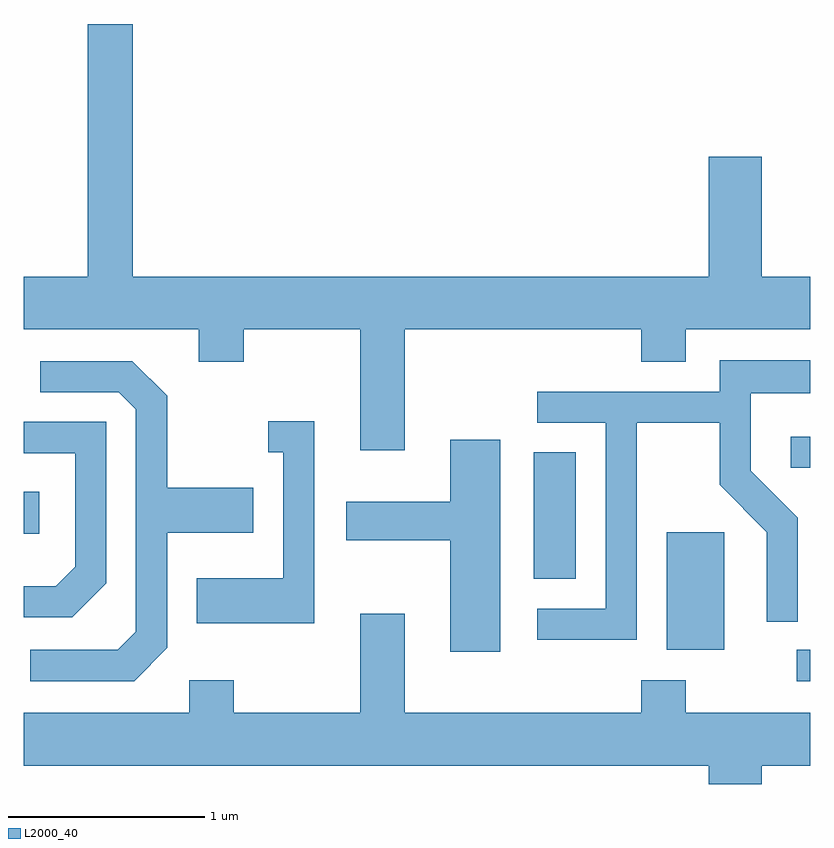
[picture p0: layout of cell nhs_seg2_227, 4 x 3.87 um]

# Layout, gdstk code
import gdstk
lib = gdstk.Library(unit=1e-6, precision=1e-09)
def R(c, l, rs):  # rectangles x0, y0, x1, y1
    for r in rs: c.add(gdstk.rectangle(r[:2], r[2:], *l))
def P(c, l, *ps):  # polygons
    for p in ps: c.add(gdstk.Polygon(p, *l))
L2000_40 = (2000, 40)

nhs_seg2_227 = lib.new_cell('nhs_seg2_227')
R(nhs_seg2_227, L2000_40, [(195.543,1024.326,195.611,1024.484), (194.881,1024.486,195.174,1025.084), (194.206,1024.846,194.419,1025.489), (191.611,1025.076,191.689,1025.289), (195.513,1025.411,195.611,1025.569)])
P(nhs_seg2_227, L2000_40, [(193.549,1026.116),(194.751,1026.116),(194.751,1025.951),(194.979,1025.951),(194.979,1026.116),(195.611,1026.116),(195.611,1026.384),(195.364,1026.384),(195.364,1026.994),(195.096,1026.994),(195.096,1026.384),(192.164,1026.384),(192.164,1027.669),(191.936,1027.669),(191.936,1026.384),(191.611,1026.384),(191.611,1026.116),(192.501,1026.116),(192.501,1025.951),(192.729,1025.951),(192.729,1026.116),(193.321,1026.116),(193.321,1025.501),(193.549,1025.501)],
  [(194.729,1025.641),(195.151,1025.641),(195.151,1025.324),(195.391,1025.084),(195.391,1024.628),(195.549,1024.628),(195.549,1025.157),(195.309,1025.397),(195.309,1025.791),(195.611,1025.791),(195.611,1025.959),(195.151,1025.959),(195.151,1025.799),(194.223,1025.799),(194.223,1025.641),(194.571,1025.641),(194.571,1024.694),(194.223,1024.694),(194.223,1024.536),(194.729,1024.536)],
  [(192.339,1024.494),(192.339,1025.081),(192.779,1025.081),(192.779,1025.309),(192.339,1025.309),(192.339,1025.777),(192.162,1025.954),(191.693,1025.954),(191.693,1025.796),(192.094,1025.796),(192.181,1025.709),(192.181,1024.577),(192.089,1024.484),(191.643,1024.484),(191.643,1024.326),(192.172,1024.326)],
  [(193.089,1025.649),(192.853,1025.649),(192.853,1025.491),(192.931,1025.491),(192.931,1024.849),(192.491,1024.849),(192.491,1024.621),(193.089,1024.621)],
  [(192.029,1024.824),(192.029,1025.644),(191.611,1025.644),(191.611,1025.486),(191.871,1025.486),(191.871,1024.907),(191.774,1024.809),(191.611,1024.809),(191.611,1024.651),(191.857,1024.651)],
  [(194.034,1025.554),(193.781,1025.554),(193.781,1025.239),(193.251,1025.239),(193.251,1025.041),(193.781,1025.041),(193.781,1024.476),(194.034,1024.476)],
  [(195.364,1023.896),(195.611,1023.896),(195.611,1024.164),(194.979,1024.164),(194.979,1024.329),(194.751,1024.329),(194.751,1024.164),(193.549,1024.164),(193.549,1024.669),(193.321,1024.669),(193.321,1024.164),(192.679,1024.164),(192.679,1024.329),(192.451,1024.329),(192.451,1024.164),(191.611,1024.164),(191.611,1023.896),(195.096,1023.896),(195.096,1023.802),(195.364,1023.802)])

lib.write_gds('nhs_seg2_227.gds')
